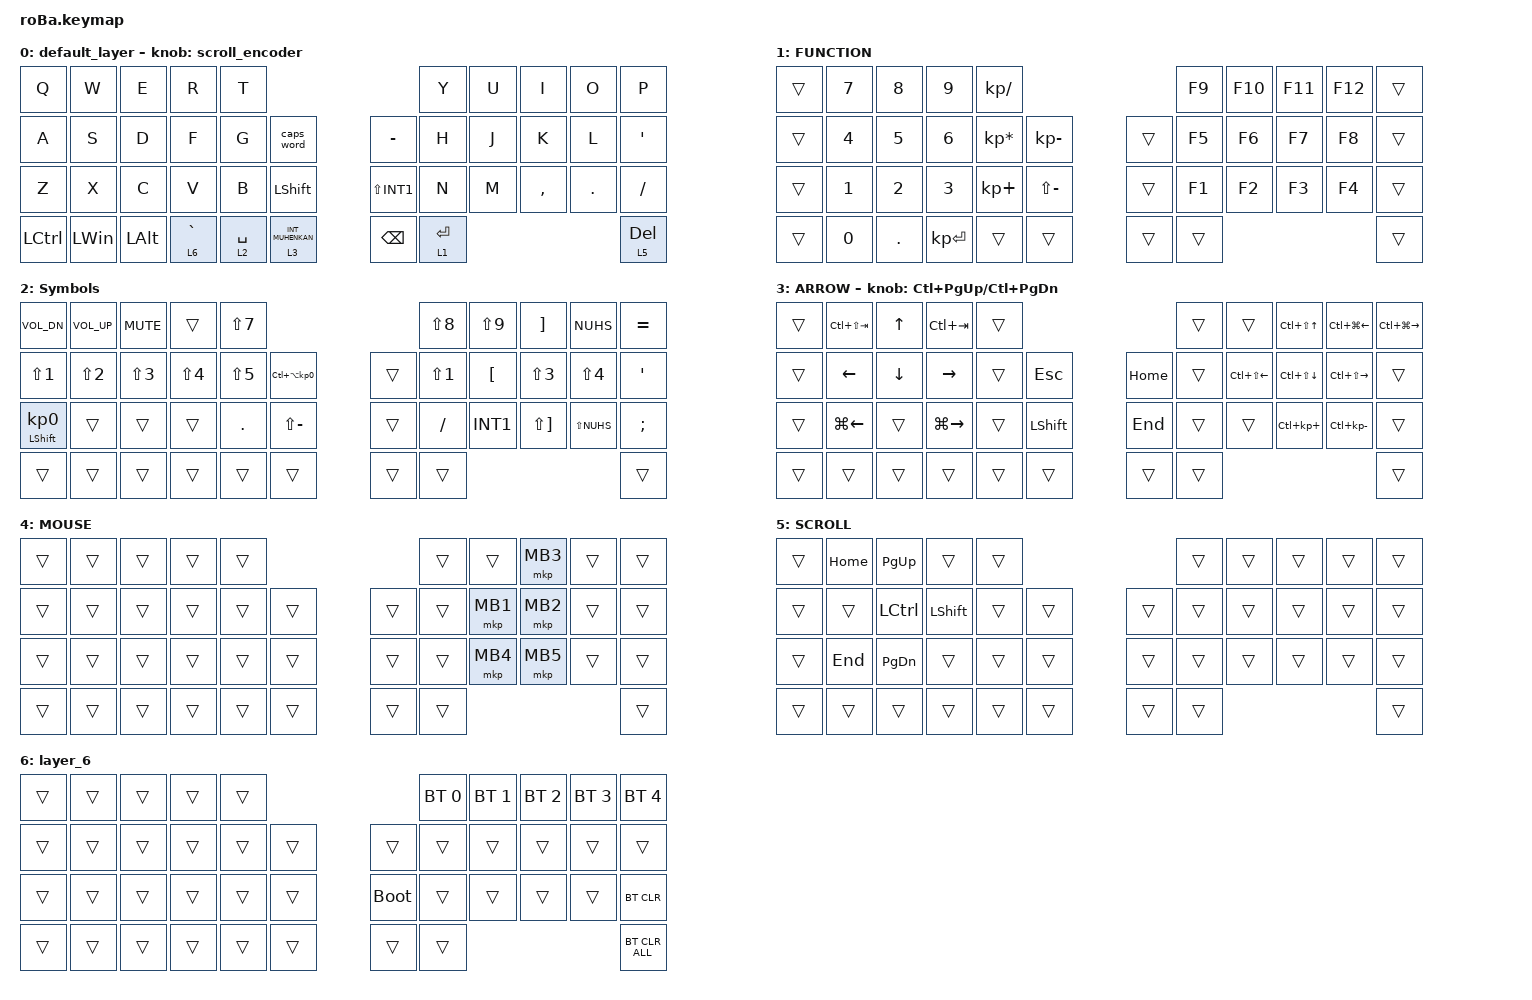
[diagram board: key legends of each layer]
#include <behaviors.dtsi>
#include <dt-bindings/zmk/bt.h>
#include <dt-bindings/zmk/keys.h>
#include <dt-bindings/zmk/pointing.h>

#define ZMK_POINTING_DEFAULT_SCRL_VAL 80

// ===== JIS(日本語106/109)配列OS用キーコード =====
#define JP_EXCL  LS(N1)
#define JP_DQT   LS(N2)
#define JP_HASH  LS(N3)
#define JP_DLLR  LS(N4)
#define JP_PERC  LS(N5)
#define JP_AMPR  LS(N6)
#define JP_QUOT  LS(N7)
#define JP_LPAR  LS(N8)
#define JP_RPAR  LS(N9)
#define JP_EQUAL LS(MINUS)
#define JP_CARET EQUAL
#define JP_TILDE LS(EQUAL)
#define JP_AT    LBKT
#define JP_GRAVE LS(LBKT)
#define JP_LBKT  RBKT
#define JP_LBRC  LS(RBKT)
#define JP_RBKT  NUHS
#define JP_RBRC  LS(NUHS)
#define JP_PLUS  LS(SEMI)
#define JP_COLON SQT
#define JP_ASTR  LS(SQT)
#define JP_BSLH  INT1
#define JP_UNDER LS(INT1)
#define JP_YEN   INT3
#define JP_PIPE  LS(INT3)
#define JP_QUES  LS(SLASH)

&mt {
    flavor = "balanced";
    quick-tap-ms = <0>;
};

&trackball {
    automouse-layer = <4>;
    scroll-layers = <5>;

    // arrows {
    //     layers = <3>;
    //     bindings =
    //         <&kp RIGHT_ARROW>,
    //         <&kp LEFT_ARROW>,
    //         <&kp UP_ARROW>,
    //         <&kp DOWN_ARROW>;
    //     tick = <10>;
    //     wait-ms = <5>;
    //     tap-ms = <5>;
    // };
};

/ {
    combos {
        compatible = "zmk,combos";

        tab {
            bindings = <&kp TAB>;
            key-positions = <11 12>;
            layers = <0>;
        };

        shift_tab {
            bindings = <&kp LS(TAB)>;
            key-positions = <12 13>;
            layers = <0>;
        };

        eq {
            bindings = <&kp JP_EQUAL>;
            key-positions = <24 25>;
            layers = <0>;
        };

        esc {
            bindings = <&kp ESCAPE>;
            key-positions = <3 4>;
            layers = <0>;
        };

        task_mgr {
            bindings = <&kp LC(LS(ESC))>;
            key-positions = <0 1>;
            layers = <0>;
        };
    };

    macros {
        to_layer_0: to_layer_0 {
            compatible = "zmk,behavior-macro-one-param";
            #binding-cells = <1>;
            bindings = <&to 0 &macro_param_1to1 &kp MACRO_PLACEHOLDER>;
            label = "TO_LAYER_0";
        };
    };

    behaviors {
        lt_to_layer_0: lt_to_layer_0 {
            compatible = "zmk,behavior-hold-tap";
            label = "LAYER_TAP_TO_0";
            bindings = <&mo>, <&to_layer_0>;

            #binding-cells = <2>;
            tapping-term-ms = <200>;
        };

        scroll_encoder: scroll_encoder {
            compatible = "zmk,behavior-sensor-rotate";
            #sensor-binding-cells = <0>;
            bindings = <&msc SCRL_UP>, <&msc SCRL_DOWN>;
            tap-ms = <20>;
        };
    };

    keymap {
        compatible = "zmk,keymap";

        default_layer {
            bindings = <
&kp Q      &kp W         &kp E         &kp R                           &kp T                                                           &kp Y        &kp U  &kp I      &kp O    &kp P
&kp A      &kp S         &kp D         &kp F                           &kp G        &caps_word                         &kp MINUS       &kp H        &kp J  &kp K      &kp L    &kp JP_COLON
&kp Z      &kp X         &kp C         &kp V                           &kp B        &kp LEFT_SHIFT                     &kp JP_UNDER    &kp N        &kp M  &kp COMMA  &kp DOT  &kp SLASH
&kp LCTRL  &kp LEFT_WIN  &kp LEFT_ALT  &lt 6 GRAVE                     &lt 2 SPACE  &lt_to_layer_0 3 INT_MUHENKAN      &kp BACKSPACE   &lt 1 ENTER                             &lt 5 DEL
            >;

            sensor-bindings = <&scroll_encoder>;
        };

        FUNCTION {
            bindings = <
&trans  &kp N7  &kp N8  &kp N9  &kp KP_DIVIDE                                 &kp F9  &kp F10  &kp F11  &kp F12  &trans
&trans  &kp N4  &kp N5  &kp N6  &kp KP_MULTIPLY  &kp KP_MINUS      &trans  &kp F5  &kp F6   &kp F7   &kp F8   &trans
&trans  &kp N1  &kp N2  &kp N3  &kp KP_PLUS      &kp JP_EQUAL      &trans  &kp F1  &kp F2   &kp F3   &kp F4   &trans
&trans  &kp N0  &kp DOT  &kp KP_ENTER  &trans  &trans      &trans  &trans                            &trans
            >;
        };

        Symbols {
            bindings = <
&kp C_VOL_DN                &kp C_VOL_UP       &kp K_MUTE  &trans       &kp JP_QUOT                                       &kp JP_LPAR  &kp JP_RPAR  &kp JP_LBKT  &kp JP_RBKT  &kp JP_CARET
&kp JP_EXCL                 &kp JP_DQT         &kp JP_HASH &kp JP_DLLR  &kp JP_PERC  &kp LC(LA(KP_NUMBER_0))      &trans  &kp JP_EXCL  &kp JP_AT    &kp JP_HASH  &kp JP_DLLR  &kp JP_COLON
&mt LEFT_SHIFT KP_NUMBER_0  &trans             &trans      &trans       &kp PERIOD   &kp JP_EQUAL                 &trans  &kp FSLH     &kp JP_BSLH  &kp JP_LBRC  &kp JP_RBRC  &kp SEMICOLON
&trans                      &trans             &trans      &trans      &trans       &trans                       &trans  &trans                                                                            &trans
            >;
        };

        ARROW {
            bindings = <
&trans          &kp LC(LS(TAB))         &kp UP_ARROW    &kp LC(TAB)              &trans                            &trans  &trans                  &kp LC(LS(UP_ARROW))    &kp LC(LG(LEFT_ARROW))   &kp LC(LG(RIGHT_ARROW))
&trans          &kp LEFT_ARROW          &kp DOWN_ARROW  &kp RIGHT_ARROW          &trans  &kp ESCAPE      &kp HOME  &trans  &kp LC(LS(LEFT_ARROW))  &kp LC(LS(DOWN_ARROW))  &kp LC(LS(RIGHT_ARROW))  &trans
&trans          &kp LG(LEFT_ARROW)      &trans          &kp LG(RIGHT_ARROW)      &trans  &kp LEFT_SHIFT  &kp END   &trans  &trans  &kp LC(KP_PLUS)  &kp LC(KP_MINUS)  &trans
&trans          &trans                  &trans          &trans                   &trans  &trans          &trans    &trans                          &trans
            >;

            sensor-bindings = <&inc_dec_kp LC(PAGE_UP) LC(PAGE_DOWN)>;
        };

        MOUSE {
            bindings = <
&trans  &trans  &trans  &trans  &trans                      &trans  &trans    &mkp MB3  &trans  &trans
&trans  &trans  &trans  &trans  &trans  &trans      &trans  &trans  &mkp MB1  &mkp MB2  &trans  &trans
&trans  &trans  &trans  &trans  &trans  &trans      &trans  &trans  &mkp MB4  &mkp MB5  &trans  &trans
&trans  &trans  &trans  &trans  &trans  &trans      &trans  &trans                              &trans
            >;
        };

        SCROLL {
            bindings = <
&trans  &kp HOME  &kp PG_UP    &trans      &trans                          &trans  &trans  &trans  &trans  &trans
&trans  &trans    &kp LCTRL    &kp LSHIFT  &trans  &trans          &trans  &trans  &trans  &trans  &trans  &trans
&trans  &kp END   &kp PG_DN    &trans      &trans  &trans          &trans  &trans  &trans  &trans  &trans  &trans
&trans  &trans    &trans       &trans      &trans  &trans          &trans  &trans                          &trans
            >;
        };

        layer_6 {
            bindings = <
&trans  &trans        &trans        &trans        &trans                           &bt BT_SEL 0  &bt BT_SEL 1  &bt BT_SEL 2  &bt BT_SEL 3  &bt BT_SEL 4
&trans  &trans        &trans        &trans        &trans  &trans      &trans       &trans        &trans        &trans        &trans        &trans
&trans  &trans        &trans        &trans        &trans  &trans      &bootloader  &trans        &trans        &trans        &trans        &bt BT_CLR
&trans  &trans        &trans        &trans        &trans  &trans      &trans       &trans                                                  &bt BT_CLR_ALL
            >;
        };
    };
};
